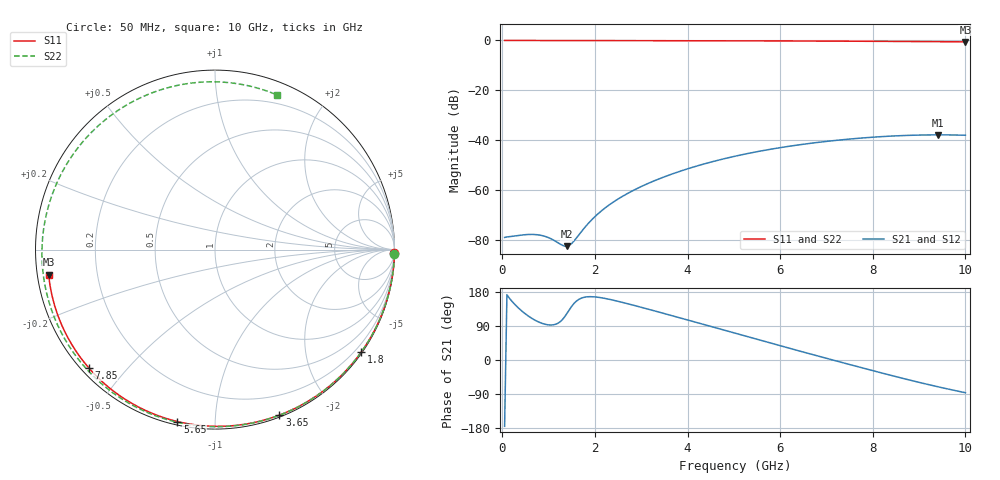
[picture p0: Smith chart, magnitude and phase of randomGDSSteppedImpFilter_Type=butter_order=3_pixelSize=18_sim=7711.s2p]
! freq	dB(S11)	phase(S11)	dB(S12)	phase(S12)
!  dB(S21)	phase(S21)	dB(S22)	phase(S22)
!S-par simulation data
#  GHz  S  DB  R 50
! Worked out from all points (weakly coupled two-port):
!   200 points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, 50 MHz to 10 GHz, reference 50 ohm
!   highest |S21| = -37.85 dB at 9.4 GHz (marker M1); lowest = -82.5 dB at 1.4 GHz (marker M2)
!   lowest |S11| = -0.6 dB at 10 GHz (marker M3), VSWR 30.97, Z = 1.62 - j3.77 ohm
!   |S11| at or under -10 dB: nowhere
!   |S22| runs from -0.6 to 0.0 dB; largest |S21 - S12| = 0
!   S11 on the Smith chart (normalised r, x): 50 MHz: open; 1.8 GHz: 0.03, -3.18; 3.65 GHz: 0.02, -1.46; 5.65 GHz: 0.02, -0.80; 7.85 GHz: 0.02, -0.39; 10 GHz: 0.03, -0.08
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0.05  -0.00 -1.0  -78.98 -175.1  -78.98 -175.1  -0.00 -1.5
0.65  -0.01 -12.8  -77.77 109.0  -77.77 109.0  -0.02 -19.7
1.1  -0.03 -21.5  -79.98 92.8  -79.98 92.8  -0.04 -33.2
1.4  -0.03 -27.3  -82.48 123.6  -82.48 123.6  -0.05 -42.0
1.55  -0.04 -30.2  -80.40 149.5  -80.40 149.5  -0.06 -46.4
1.75  -0.04 -34.0  -75.67 165.0  -75.67 165.0  -0.07 -52.1
1.8  -0.04 -34.9  -74.56 166.2  -74.56 166.2  -0.07 -53.6
2.1  -0.05 -40.6  -68.97 165.0  -68.97 165.0  -0.08 -62.1
2.45  -0.06 -47.1  -64.15 156.3  -64.15 156.3  -0.09 -71.9
3.4  -0.09 -64.3  -55.39 125.9  -55.39 125.9  -0.13 -97.7
3.65  -0.09 -68.7  -53.65 117.5  -53.65 117.5  -0.14 -104.3
4.3  -0.11 -80.0  -49.81 95.5  -49.81 95.5  -0.17 -121.3
5.05  -0.14 -92.5  -46.31 69.8  -46.31 69.8  -0.21 -140.6
5.65  -0.17 -102.3  -44.08 49.4  -44.08 49.4  -0.25 -156.1
6.2  -0.20 -111.1  -42.40 30.9  -42.40 30.9  -0.29 -170.5
6.7  -0.23 -119.0  -41.13 14.3  -41.13 14.3  -0.33 175.9
7.3  -0.28 -128.4  -39.88 -5.4  -39.88 -5.4  -0.38 158.9
7.85  -0.32 -137.0  -38.99 -23.3  -38.99 -23.3  -0.44 142.5
8.35  -0.37 -144.8  -38.39 -39.2  -38.39 -39.2  -0.48 126.6
8.9  -0.43 -153.5  -37.98 -56.1  -37.98 -56.1  -0.54 108.2
9.4  -0.48 -161.5  -37.85 -70.5  -37.85 -70.5  -0.58 90.5
10  -0.56 -171.4  -38.00 -86.3  -38.00 -86.3  -0.64 68.3
